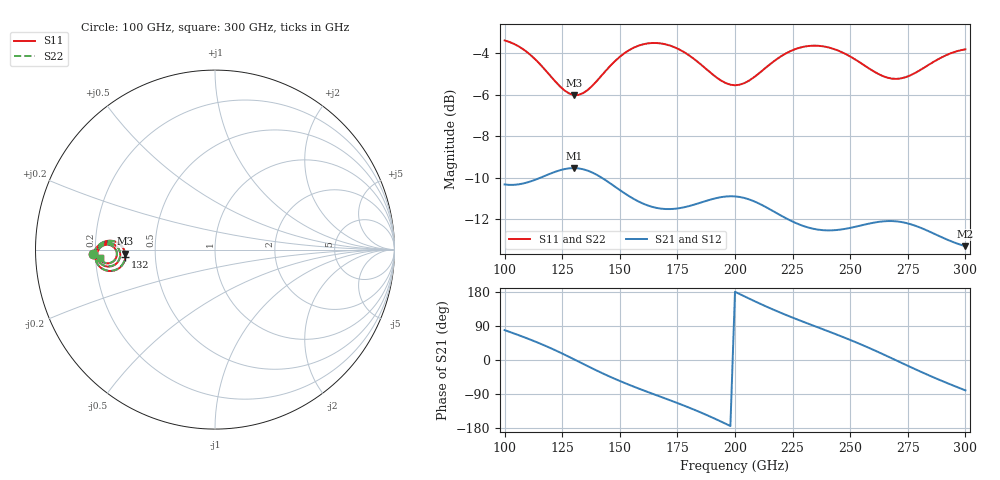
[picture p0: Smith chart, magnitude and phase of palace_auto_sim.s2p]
#  GHZ S DB R 50
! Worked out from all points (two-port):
!   101 points, 100 GHz to 300 GHz, reference 50 ohm
!   highest |S21| = -9.53 dB at 130 GHz (marker M1); lowest = -13.3 dB at 300 GHz (marker M2)
!   |S21| within 3 dB of the highest: start of sweep to 239.8 GHz; 241.2 GHz to 283.2 GHz (42.01 GHz wide, 16 % of centre)
!   lowest |S11| = -6.0 dB at 130 GHz (marker M3), VSWR 3.00, Z = 16.6 - j0.969 ohm
!   |S11| at or under -10 dB: nowhere
!   |S22| runs from -6.0 to -3.4 dB; largest |S21 - S12| = 4.8e-14
!   S11 on the Smith chart (normalised r, x): 100 GHz: 0.19, -0.02; 132 GHz: 0.33, -0.04; 300 GHz: 0.22, -0.03
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100  -3.38 -177.9  -10.32 78.9  -10.32 78.9  -3.38 -177.9
116  -4.60 175.2  -9.97 41.8  -9.97 41.8  -4.59 175.2
124  -5.59 177.2  -9.64 20.0  -9.64 20.0  -5.57 177.2
130  -6.01 -177.5  -9.53 2.2  -9.53 2.2  -5.98 -177.5
132  -6.01 -175.4  -9.55 -3.9  -9.55 -3.9  -5.98 -175.5
134  -5.93 -173.4  -9.59 -9.9  -9.59 -9.9  -5.90 -173.5
142  -5.08 -168.5  -9.99 -33.7  -9.99 -33.7  -5.07 -168.6
148  -4.37 -168.6  -10.43 -50.1  -10.43 -50.1  -4.36 -168.8
158  -3.64 -172.7  -11.13 -74.9  -11.13 -74.9  -3.63 -172.8
168  -3.53 -177.9  -11.49 -97.6  -11.49 -97.6  -3.52 -178.0
184  -4.43 176.5  -11.23 -135.5  -11.23 -135.5  -4.42 176.4
192  -5.17 177.8  -10.97 -157.0  -10.97 -157.0  -5.16 177.7
200  -5.54 -177.2  -10.90 180.0  -10.90 180.0  -5.53 -177.3
208  -5.17 -172.2  -11.12 156.7  -11.12 156.7  -5.17 -172.3
216  -4.46 -170.9  -11.57 134.6  -11.57 134.6  -4.46 -171.0
224  -3.90 -172.7  -12.05 114.3  -12.05 114.3  -3.90 -172.9
234  -3.63 -176.8  -12.46 90.7  -12.46 90.7  -3.64 -176.9
252  -4.29 177.5  -12.37 47.9  -12.37 47.9  -4.30 177.4
268  -5.22 -178.5  -12.08 4.6  -12.08 4.6  -5.23 -178.6
276  -5.07 -174.5  -12.23 -18.1  -12.23 -18.1  -5.08 -174.6
284  -4.56 -172.7  -12.57 -40.0  -12.57 -40.0  -4.57 -172.7
300  -3.81 -175.8  -13.29 -80.1  -13.29 -80.1  -3.82 -175.9
